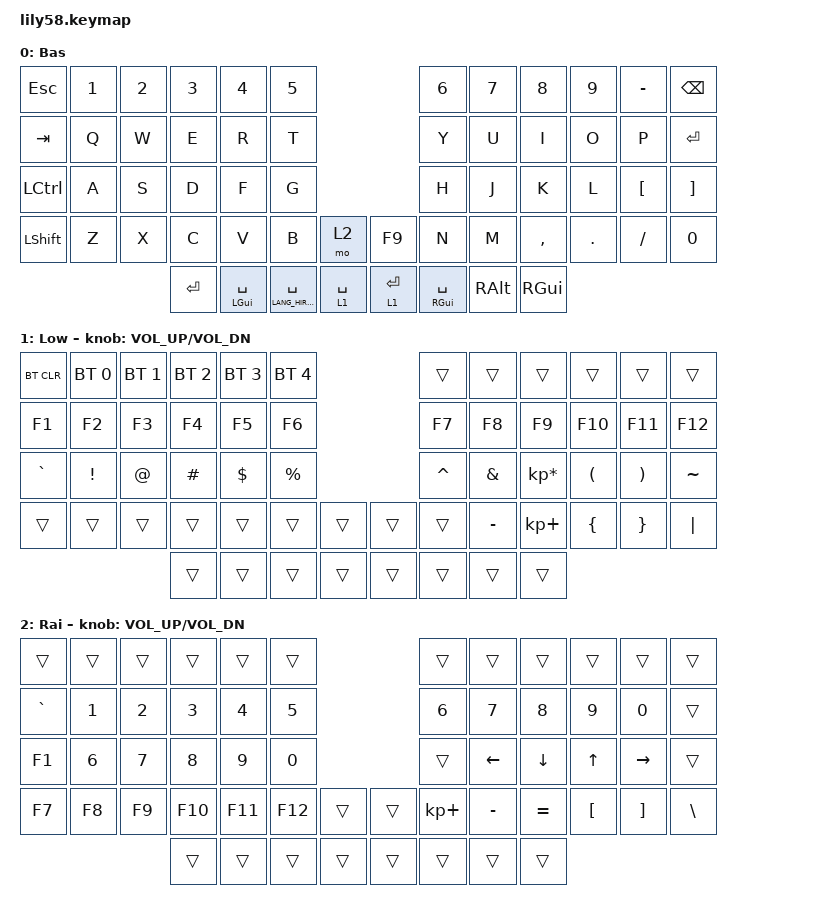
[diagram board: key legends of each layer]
/*
 * Copyright (c) 2020 The ZMK Contributors
 *
 * SPDX-License-Identifier: MIT
 */

#include <behaviors.dtsi>
#include <dt-bindings/zmk/bt.h>
#include <dt-bindings/zmk/keys.h>

/ {
    keymap {
        compatible = "zmk,keymap";

        default_layer {
            // ------------------------------------------------------------------------------------------------------------
            // |  ESC  |  1  |  2  |  3   |  4   |  5   |                   |  6   |  7    |  8    |  9   |   0   |   `   |
            // |  TAB  |  Q  |  W  |  E   |  R   |  T   |                   |  Y   |  U    |  I    |  O   |   P   |   -   |
            // |  CTRL |  A  |  S  |  D   |  F   |  G   |                   |  H   |  J    |  K    |  L   |   ;   |   '   |
            // | SHIFT |  Z  |  X  |  C   |  V   |  B   |   "["  |  |  "]"  |  N   |  M    |  ,    |  .   |   /   | SHIFT |
            //                     | ALT  | GUI  | LOWER|  SPACE |  | ENTER | RAISE| BSPC  | GUI   |

            display-name = "Bas";
            bindings = <
&kp ESC    &kp N1  &kp N2  &kp N3     &kp N4          &kp N5                                               &kp N6               &kp N7         &kp N8     &kp N9   &kp MINUS         &kp BACKSPACE
&kp TAB    &kp Q   &kp W   &kp E      &kp R           &kp T                                                &kp Y                &kp U          &kp I      &kp O    &kp P             &kp ENTER
&kp LCTRL  &kp A   &kp S   &kp D      &kp F           &kp G                                                &kp H                &kp J          &kp K      &kp L    &kp LEFT_BRACKET  &kp RIGHT_BRACKET
&kp LSHFT  &kp Z   &kp X   &kp C      &kp V           &kp B                    &mo 2          &kp F9       &kp N                &kp M          &kp COMMA  &kp DOT  &kp FSLH          &kp NUMBER_0
                           &kp ENTER  &mt LGUI SPACE  &mt LANG_HIRAGANA SPACE  &lt 1 SPACE    &lt 1 ENTER  &mt RIGHT_GUI SPACE  &kp RIGHT_ALT  &kp RGUI
            >;
        };

        lower_layer {
            // ------------------------------------------------------------------------------------------------------------
            // | BTCLR | BT1 | BT2 |  BT3 |  BT4 |  BT5 |                   |      |       |       |      |       |       |
            // |  F1   |  F2 |  F3 |  F4  |  F5  |  F6  |                   |  F7  |  F8   |  F9   |  F10 |  F11  |  F12  |
            // |   `   |  !  |  @  |  #   |  $   |  %   |                   |  ^   |  &    |  *    |  (   |   )   |   ~   |
            // |       |     |     |      |      |      |        |  |       |      |  _    |  +    |  {   |   }   |  "|"  |
            //                     |      |      |      |        |  |       |      |       |       |

            display-name = "Low";
            bindings = <
&bt BT_CLR  &bt BT_SEL 0  &bt BT_SEL 1  &bt BT_SEL 2  &bt BT_SEL 3  &bt BT_SEL 4                    &trans     &trans     &trans           &trans    &trans    &trans
&kp F1      &kp F2        &kp F3        &kp F4        &kp F5        &kp F6                          &kp F7     &kp F8     &kp F9           &kp F10   &kp F11   &kp F12
&kp GRAVE   &kp EXCL      &kp AT        &kp HASH      &kp DOLLAR    &kp PRCNT                       &kp CARET  &kp AMPS   &kp KP_MULTIPLY  &kp LPAR  &kp RPAR  &kp TILDE
&trans      &trans        &trans        &trans        &trans        &trans        &trans    &trans  &trans     &kp MINUS  &kp KP_PLUS      &kp LBRC  &kp RBRC  &kp PIPE
                                        &trans        &trans        &trans        &trans    &trans  &trans     &trans     &trans
            >;

            sensor-bindings = <&inc_dec_kp C_VOL_UP C_VOL_DN>;
        };

        raise_layer {
            // ------------------------------------------------------------------------------------------------------------
            // |       |     |     |      |      |      |                   |      |       |       |      |       |       |
            // |   `   |  1  |  2  |  3   |  4   |  5   |                   |  6   |   7   |   8   |  9   |   0   |       |
            // |   F1  |  F2 |  F3 |  F4  |  F5  |  F6  |                   |      |   <-  |   v   |  ^   |  ->   |       |
            // |   F7  |  F8 |  F9 |  F10 |  F11 |  F12 |        |  |       |  +   |   -   |   =   |  [   |   ]   |   \   |
            //                     |      |      |      |        |  |       |      |       |       |

            display-name = "Rai";
            bindings = <
&trans     &trans        &trans  &trans   &trans   &trans                          &trans       &trans     &trans     &trans    &trans     &trans
&kp GRAVE  &kp N1        &kp N2  &kp N3   &kp N4   &kp N5                          &kp N6       &kp N7     &kp N8     &kp N9    &kp N0     &trans
&kp F1     &kp NUMBER_6  &kp N7  &kp N8   &kp N9   &kp NUMBER_0                    &trans       &kp LEFT   &kp DOWN   &kp UP    &kp RIGHT  &trans
&kp F7     &kp F8        &kp F9  &kp F10  &kp F11  &kp F12       &trans    &trans  &kp KP_PLUS  &kp MINUS  &kp EQUAL  &kp LBKT  &kp RBKT   &kp BSLH
                                 &trans   &trans   &trans        &trans    &trans  &trans       &trans     &trans
            >;

            sensor-bindings = <&inc_dec_kp C_VOL_UP C_VOL_DN>;
        };

        extra_1 { status = "reserved"; };

        extra_2 { status = "reserved"; };

        extra_3 { status = "reserved"; };
    };
};
